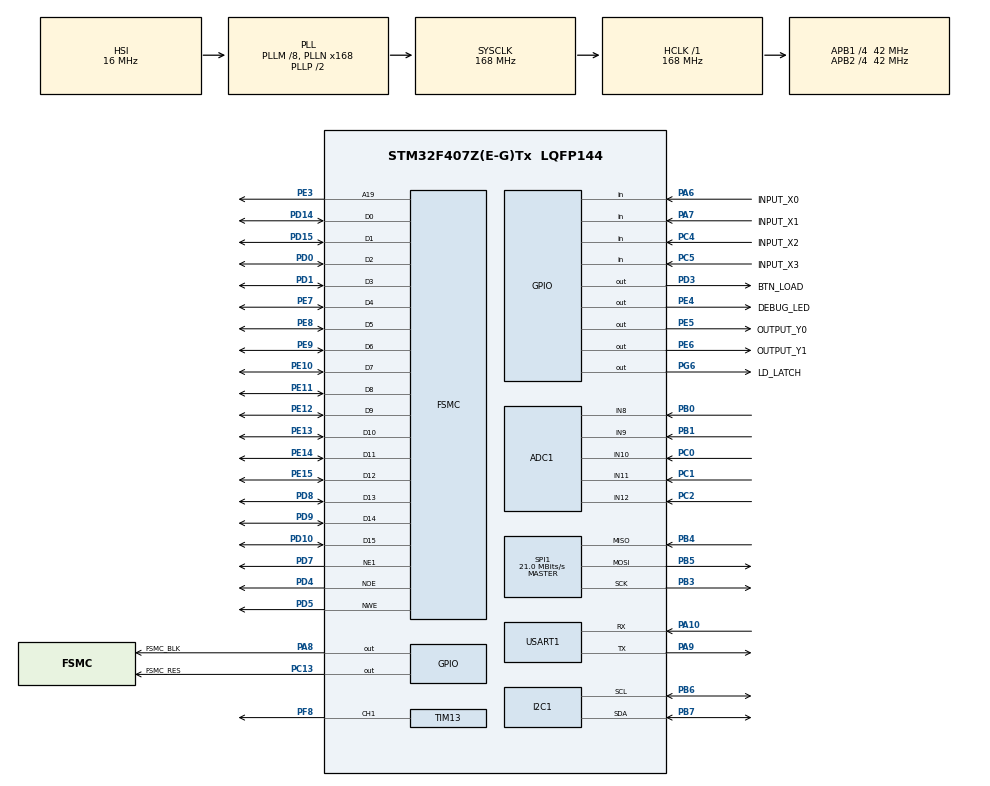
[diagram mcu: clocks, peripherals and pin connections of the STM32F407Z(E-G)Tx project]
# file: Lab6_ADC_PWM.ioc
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ADC1.Channel-0\#ChannelRegularConversion=ADC_CHANNEL_8
ADC1.Channel-1\#ChannelRegularConversion=ADC_CHANNEL_9
ADC1.Channel-2\#ChannelRegularConversion=ADC_CHANNEL_10
ADC1.Channel-3\#ChannelRegularConversion=ADC_CHANNEL_11
ADC1.Channel-4\#ChannelRegularConversion=ADC_CHANNEL_12
ADC1.NbrOfConversion=5
ADC1.NbrOfConversionFlag=1
ADC1.Rank-0\#ChannelRegularConversion=1
ADC1.Rank-1\#ChannelRegularConversion=2
ADC1.Rank-2\#ChannelRegularConversion=3
ADC1.Rank-3\#ChannelRegularConversion=4
ADC1.Rank-4\#ChannelRegularConversion=5
ADC1.SamplingTime-0\#ChannelRegularConversion=ADC_SAMPLETIME_3CYCLES
ADC1.SamplingTime-1\#ChannelRegularConversion=ADC_SAMPLETIME_3CYCLES
ADC1.SamplingTime-2\#ChannelRegularConversion=ADC_SAMPLETIME_3CYCLES
ADC1.SamplingTime-3\#ChannelRegularConversion=ADC_SAMPLETIME_3CYCLES
ADC1.SamplingTime-4\#ChannelRegularConversion=ADC_SAMPLETIME_3CYCLES
ADC1.ScanConvMode=ENABLE
ADC1.master=1
Dma.ADC1.0.Direction=DMA_PERIPH_TO_MEMORY
Dma.ADC1.0.FIFOMode=DMA_FIFOMODE_DISABLE
Dma.ADC1.0.Instance=DMA2_Stream0
Dma.ADC1.0.MemDataAlignment=DMA_MDATAALIGN_HALFWORD
Dma.ADC1.0.MemInc=DMA_MINC_ENABLE
Dma.ADC1.0.Mode=DMA_CIRCULAR
Dma.ADC1.0.PeriphDataAlignment=DMA_PDATAALIGN_HALFWORD
Dma.ADC1.0.PeriphInc=DMA_PINC_DISABLE
Dma.ADC1.0.Priority=DMA_PRIORITY_LOW
Dma.Request0=ADC1
FSMC.AddressSetupTime1=0xf
FSMC.BusTurnAroundDuration1=0
FSMC.DataSetupTime1=60
FSMC.ExtendedAddressSetupTime1=8
FSMC.ExtendedBusTurnAroundDuration1=0
FSMC.ExtendedDataSetupTime1=9
FSMC.ExtendedMode1=FSMC_EXTENDED_MODE_ENABLE
Mcu.Family=STM32F4
Mcu.Name=STM32F407Z(E-G)Tx
Mcu.Package=LQFP144
NVIC.DMA2_Stream0_IRQn=true\:0\:0\:false\:false\:true\:false\:true
NVIC.PriorityGroup=NVIC_PRIORITYGROUP_4
NVIC.TIM2_IRQn=true\:0\:0\:false\:false\:true\:true\:true
NVIC.USART1_IRQn=true\:0\:0\:false\:false\:true\:true\:true
PA10.Mode=Asynchronous
PA10.Signal=USART1_RX
PA13.Mode=Serial_Wire
PA13.Signal=SYS_JTMS-SWDIO
PA14.Mode=Serial_Wire
PA14.Signal=SYS_JTCK-SWCLK
PA6.GPIO_Label=INPUT_X0
PA6.Signal=GPIO_Input
PA7.GPIO_Label=INPUT_X1
PA7.Signal=GPIO_Input
PA8.GPIO_Label=FSMC_BLK
PA8.Signal=GPIO_Output
PA9.Mode=Asynchronous
PA9.Signal=USART1_TX
PB0.Signal=ADCx_IN8
PB1.Signal=ADCx_IN9
PB3.Mode=Full_Duplex_Master
PB3.Signal=SPI1_SCK
PB4.Mode=Full_Duplex_Master
PB4.Signal=SPI1_MISO
PB5.Mode=Full_Duplex_Master
PB5.Signal=SPI1_MOSI
PB6.Mode=I2C
PB6.Signal=I2C1_SCL
PB7.Mode=I2C
PB7.Signal=I2C1_SDA
PC0.Signal=ADCx_IN10
PC1.Signal=ADCx_IN11
PC13-ANTI_TAMP.GPIO_Label=FSMC_RES
PC13-ANTI_TAMP.Signal=GPIO_Output
PC2.Signal=ADCx_IN12
PC4.GPIO_Label=INPUT_X2
PC4.Signal=GPIO_Input
PC5.GPIO_Label=INPUT_X3
PC5.Signal=GPIO_Input
PD0.Signal=FSMC_D2_DA2
PD1.Signal=FSMC_D3_DA3
PD10.Signal=FSMC_D15_DA15
PD14.Signal=FSMC_D0_DA0
PD15.Signal=FSMC_D1_DA1
PD3.GPIO_Label=BTN_LOAD
PD3.Signal=GPIO_Output
PD4.Signal=FSMC_NOE
PD5.Signal=FSMC_NWE
PD7.Mode=NorPsramChipSelect1_1
PD7.Signal=FSMC_NE1
PD8.Signal=FSMC_D13_DA13
PD9.Signal=FSMC_D14_DA14
PE10.Signal=FSMC_D7_DA7
PE11.Signal=FSMC_D8_DA8
PE12.Signal=FSMC_D9_DA9
PE13.Signal=FSMC_D10_DA10
PE14.Signal=FSMC_D11_DA11
PE15.Signal=FSMC_D12_DA12
PE3.Signal=FSMC_A19
PE4.GPIO_Label=DEBUG_LED
PE4.Signal=GPIO_Output
PE5.GPIO_Label=OUTPUT_Y0
PE5.Signal=GPIO_Output
PE6.GPIO_Label=OUTPUT_Y1
PE6.Signal=GPIO_Output
PE7.Signal=FSMC_D4_DA4
PE8.Signal=FSMC_D5_DA5
PE9.Signal=FSMC_D6_DA6
PF8.Signal=S_TIM13_CH1
PG6.GPIO_Label=LD_LATCH
PG6.Signal=GPIO_Output
PH0-OSC_IN.Mode=HSE-External-Oscillator
PH0-OSC_IN.Signal=RCC_OSC_IN
PH1-OSC_OUT.Mode=HSE-External-Oscillator
PH1-OSC_OUT.Signal=RCC_OSC_OUT
ProjectManager.HeapSize=0x200
ProjectManager.StackSize=0x400
ProjectManager.TargetToolchain=STM32CubeIDE
RCC.48MHZClocksFreq_Value=84000000
RCC.AHBFreq_Value=168000000
RCC.APB1CLKDivider=RCC_HCLK_DIV4
RCC.APB1Freq_Value=42000000
RCC.APB1TimFreq_Value=84000000
RCC.APB2CLKDivider=RCC_HCLK_DIV4
RCC.APB2Freq_Value=42000000
RCC.APB2TimFreq_Value=84000000
RCC.CortexFreq_Value=168000000
RCC.HCLKFreq_Value=168000000
RCC.HSE_VALUE=8000000
RCC.HSI_VALUE=16000000
RCC.LSE_VALUE=32768
RCC.PLLM=8
RCC.PLLN=168
RCC.SYSCLKFreq_VALUE=168000000
RCC.SYSCLKSource=RCC_SYSCLKSOURCE_PLLCLK
RCC.VCOOutputFreq_Value=336000000
SH.ADCx_IN10.0=ADC1_IN10,IN10
SH.ADCx_IN11.0=ADC1_IN11,IN11
SH.ADCx_IN12.0=ADC1_IN12,IN12
SH.ADCx_IN8.0=ADC1_IN8,IN8
SH.ADCx_IN9.0=ADC1_IN9,IN9
SH.FSMC_A19.0=FSMC_A19,A19_1
SH.FSMC_D0_DA0.0=FSMC_D0,16b-d1
SH.FSMC_D10_DA10.0=FSMC_D10,16b-d1
SH.FSMC_D11_DA11.0=FSMC_D11,16b-d1
SH.FSMC_D12_DA12.0=FSMC_D12,16b-d1
SH.FSMC_D13_DA13.0=FSMC_D13,16b-d1
SH.FSMC_D14_DA14.0=FSMC_D14,16b-d1
SH.FSMC_D15_DA15.0=FSMC_D15,16b-d1
SH.FSMC_D1_DA1.0=FSMC_D1,16b-d1
SH.FSMC_D2_DA2.0=FSMC_D2,16b-d1
SH.FSMC_D3_DA3.0=FSMC_D3,16b-d1
SH.FSMC_D4_DA4.0=FSMC_D4,16b-d1
SH.FSMC_D5_DA5.0=FSMC_D5,16b-d1
SH.FSMC_D6_DA6.0=FSMC_D6,16b-d1
SH.FSMC_D7_DA7.0=FSMC_D7,16b-d1
SH.FSMC_D8_DA8.0=FSMC_D8,16b-d1
SH.FSMC_D9_DA9.0=FSMC_D9,16b-d1
SH.FSMC_NOE.0=FSMC_NOE,Lcd1
SH.FSMC_NWE.0=FSMC_NWE,Lcd1
SH.S_TIM13_CH1.0=TIM13_CH1,PWM Generation1 CH1
SPI1.BaudRatePrescaler=SPI_BAUDRATEPRESCALER_2
SPI1.CalculateBaudRate=21.0 MBits/s
SPI1.Direction=SPI_DIRECTION_2LINES
SPI1.Mode=SPI_MODE_MASTER
SPI1.VirtualType=VM_MASTER
TIM13.Channel=TIM_CHANNEL_1
TIM13.Period=100-1
TIM13.Prescaler=840-1
TIM2.Period=100-1
TIM2.Prescaler=840-1
USART1.VirtualMode=VM_ASYNC
VP_TIM13_VS_ClockSourceINT.Mode=Enable_Timer
VP_TIM2_VS_ClockSourceINT.Mode=Internal
board=custom

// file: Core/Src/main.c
/* USER CODE BEGIN Header */
/**
 ******************************************************************************
 * @file           : main.c
 * @brief          : Main program body
 ******************************************************************************
 * @attention
 *
 * <h2><center>&copy; Copyright (c) 2024 STMicroelectronics.
 * All rights reserved.</center></h2>
 *
 * This software component is licensed by ST under BSD 3-Clause license,
 * the "License"; You may not use this file except in compliance with the
 * License. You may obtain a copy of the License at:
 *                        opensource.org/licenses/BSD-3-Clause
 *
 ******************************************************************************
 */
/* USER CODE END Header */
#include "main.h"
#include "adc.h"
#include "dma.h"
#include "i2c.h"
#include "spi.h"
#include "tim.h"
#include "usart.h"
#include "gpio.h"
#include "fsmc.h"

/* USER CODE BEGIN Includes */
#include "software_timer.h"
#include "led_7seg.h"
#include "button.h"
#include "lcd.h"
#include "picture.h"
#include "ds3231.h"
#include "sensor.h"
#include "buzzer.h"
#include "uart.h"
/* USER CODE END Includes */

/* USER CODE BEGIN PV */
#define INIT 0
#define MONITORING 1
#define ALARM 2

int mode = INIT;
int counter = 0;
int buzzer_state = 0;
/* USER CODE END PV */

void SystemClock_Config(void);
/* USER CODE BEGIN PFP */
void system_init();
void test_LedDebug();
void turnonBuzzer();
void turnoffBuzzer();
void displayAdc();
void sendUart();
void sendAlarm();
void displayTime();
void updateTime();
void process();
/* USER CODE END PFP */

int main(void) {

	/* MCU Configuration--------------------------------------------------------*/

	/* Reset of all peripherals, Initializes the Flash interface and the Systick. */
	HAL_Init();

	/* Configure the system clock */
	SystemClock_Config();

	/* Initialize all configured peripherals */
	MX_GPIO_Init();
	MX_TIM2_Init();
	MX_SPI1_Init();
	MX_FSMC_Init();
	MX_I2C1_Init();
	MX_TIM13_Init();
	MX_DMA_Init();
	MX_ADC1_Init();
	MX_USART1_UART_Init();
	/* USER CODE BEGIN 2 */
	system_init();
	led7_SetColon(1);
	/* USER CODE END 2 */

	/* Infinite loop */
	/* USER CODE BEGIN WHILE */
	lcd_Clear(BLACK);
	updateTime();
	while (1) {
		while (!flag_timer2)
			;
		flag_timer2 = 0;
		button_Scan();
		test_LedDebug();
		ds3231_ReadTime();
		process();
		/* USER CODE END WHILE */

	}
}

void SystemClock_Config(void) {
	RCC_OscInitTypeDef RCC_OscInitStruct = { 0 };
	RCC_ClkInitTypeDef RCC_ClkInitStruct = { 0 };

	/** Configure the main internal regulator output voltage
	 */
	__HAL_RCC_PWR_CLK_ENABLE();
	__HAL_PWR_VOLTAGESCALING_CONFIG(PWR_REGULATOR_VOLTAGE_SCALE1);
	/** Initializes the RCC Oscillators according to the specified parameters
	 * in the RCC_OscInitTypeDef structure.
	 */
	RCC_OscInitStruct.OscillatorType = RCC_OSCILLATORTYPE_HSI;
	RCC_OscInitStruct.HSIState = RCC_HSI_ON;
	RCC_OscInitStruct.HSICalibrationValue = RCC_HSICALIBRATION_DEFAULT;
	RCC_OscInitStruct.PLL.PLLState = RCC_PLL_ON;
	RCC_OscInitStruct.PLL.PLLSource = RCC_PLLSOURCE_HSI;
	RCC_OscInitStruct.PLL.PLLM = 8;
	RCC_OscInitStruct.PLL.PLLN = 168;
	RCC_OscInitStruct.PLL.PLLP = RCC_PLLP_DIV2;
	RCC_OscInitStruct.PLL.PLLQ = 4;
	if (HAL_RCC_OscConfig(&RCC_OscInitStruct) != HAL_OK) {
		Error_Handler();
	}
	/** Initializes the CPU, AHB and APB buses clocks
	 */
	RCC_ClkInitStruct.ClockType = RCC_CLOCKTYPE_HCLK | RCC_CLOCKTYPE_SYSCLK
			| RCC_CLOCKTYPE_PCLK1 | RCC_CLOCKTYPE_PCLK2;
	RCC_ClkInitStruct.SYSCLKSource = RCC_SYSCLKSOURCE_PLLCLK;
	RCC_ClkInitStruct.AHBCLKDivider = RCC_SYSCLK_DIV1;
	RCC_ClkInitStruct.APB1CLKDivider = RCC_HCLK_DIV4;
	RCC_ClkInitStruct.APB2CLKDivider = RCC_HCLK_DIV4;

	if (HAL_RCC_ClockConfig(&RCC_ClkInitStruct, FLASH_LATENCY_5) != HAL_OK) {
		Error_Handler();
	}
}

/* USER CODE BEGIN 4 */
void system_init() {
	timer_init();
	button_init();
	lcd_init();
	sensor_init();
	buzzer_init();
	led7_init();
	ds3231_init();
	uart_init_rs232();
	setTimer2(50);
}

uint8_t count_led_debug = 0;

void test_LedDebug() {
	count_led_debug = (count_led_debug + 1) % 20;
	if (count_led_debug == 0) {
		HAL_GPIO_TogglePin(DEBUG_LED_GPIO_Port, DEBUG_LED_Pin);
	}
}

uint8_t isButtonUp() {
	if (button_count[3] == 1)
		return 1;
	else
		return 0;
}

uint8_t isButtonDown() {
	if (button_count[7] == 1)
		return 1;
	else
		return 0;
}

uint8_t isButtonRight() {
	if (button_count[11] == 1)
		return 1;
	else
		return 0;
}

uint8_t count_adc = 0;

void displayAdc() {
	count_adc = (count_adc + 1) % 20;
	if (count_adc == 0) {
		sensor_Read();
		lcd_ShowStr(20, 100, "Power Consumption:", RED, BLACK, 16, 0);
		lcd_ShowFloatNum(180, 100, sensor_GetPowerConsumption(), 5, RED, BLACK,
				16);
		lcd_ShowStr(20, 120, "Light:", RED, BLACK, 16, 0);
		lcd_Fill(180, 120, 240, 136, BLACK);
		lcd_ShowStr(180, 120, sensor_GetLightIntensity(), RED, BLACK, 16, 0);
		lcd_ShowStr(20, 140, "Temperature:", RED, BLACK, 16, 0);
		lcd_ShowFloatNum(180, 140, sensor_GetTemperature(), 4, RED, BLACK, 16);
		lcd_ShowStr(20, 160, "Humidity:", RED, BLACK, 16, 0);
		lcd_ShowFloatNum(180, 160, sensor_GetHumidity(), 4, RED, BLACK, 16);
	}
}

void turnonBuzzer() {
	if (buzzer_state == 0) {
		buzzer_SetVolume(50);
		buzzer_state = 1;
	} else {
		buzzer_SetVolume(0);
		buzzer_state = 0;
	}
}

void turnoffBuzzer() {
	if (buzzer_state == 1) {
		buzzer_SetVolume(0);
	}
}

void sendUart() {
	uart_Rs232SendString("Power Consumption:");
	uart_Rs232SendNum(sensor_GetPowerConsumption());
	uart_Rs232SendString("\n");
	uart_Rs232SendString("Light:");
	uart_Rs232SendString(sensor_GetLightIntensity());
	uart_Rs232SendString("\n");
	uart_Rs232SendString("Temperature:");
	uart_Rs232SendNum(sensor_GetTemperature());
	uart_Rs232SendString("\n");
	uart_Rs232SendString("Humidity:");
	uart_Rs232SendNum(sensor_GetHumidity());
	uart_Rs232SendString("\n");
}

void sendAlarm() {
	uart_Rs232SendString("Humidity is too high!!!!! \n");
}

void updateTime() {
	ds3231_Write(ADDRESS_YEAR, 24);
	ds3231_Write(ADDRESS_MONTH, 11);
	ds3231_Write(ADDRESS_DATE, 11);
	ds3231_Write(ADDRESS_DAY, 2);
	ds3231_Write(ADDRESS_HOUR, 11);
	ds3231_Write(ADDRESS_MIN, 30);
	ds3231_Write(ADDRESS_SEC, 30);
}

void displayTime() {
	led7_SetDigit(ds3231_hours / 10, 0, 0);
	led7_SetDigit(ds3231_hours % 10, 1, 0);
	led7_SetDigit(ds3231_min / 10, 2, 0);
	led7_SetDigit(ds3231_min % 10, 3, 0);
}

void process() {
	switch (mode) {
	case INIT:
		if (sensor_GetHumidity() > 70) {
			mode = ALARM;
		} else {
			mode = MONITORING;
		}
		break;

	case MONITORING:
		if (sensor_GetHumidity() > 70) {
			mode = ALARM;
		}
		counter++;
		if (counter == 20){
			counter = 0;
			sendUart();
		}
		displayTime();
		displayAdc();
		turnoffBuzzer();
		break;

	case ALARM:
		if (sensor_GetHumidity() <= 70) {
			mode = MONITORING;
		}
		counter++;
		if (counter == 20) {
			counter = 0;
			sendAlarm();
			sendUart();
			turnonBuzzer();
		}
		displayTime();
		displayAdc();
		break;

	default:
		break;
	}
}
/* USER CODE END 4 */

void Error_Handler(void) {
	__disable_irq();
	while (1) {
	}
}

/************************ (C) COPYRIGHT STMicroelectronics *****END OF FILE****/
